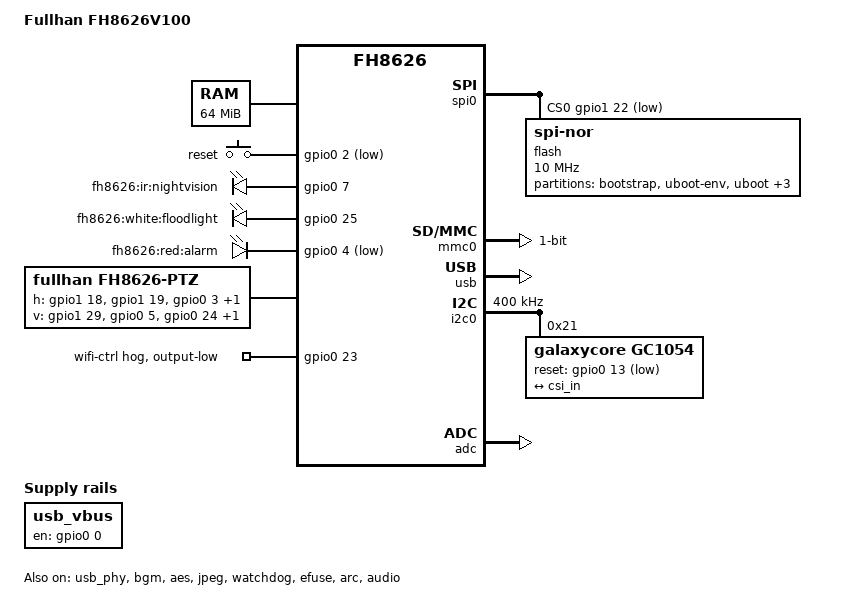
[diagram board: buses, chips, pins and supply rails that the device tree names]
// SPDX-License-Identifier: GPL-2.0
/*
 * Copyright (C) 2026 Difan Zhang
 */
/dts-v1/;
#include <dt-bindings/input/input.h>
#include "fh8626v100.dtsi"

/ {
	model = "Fullhan FH8626V100";
	compatible = "fullhan,fh8626v100", "fullhan,fh8626";
	#address-cells = <1>;
	#size-cells = <1>;

	chosen {
		stdout-path = "serial0:115200n8";
		bootargs = "console=ttyS0,115200 root=/dev/mtdblock4 rootfstype=squashfs mtdparts=spi0.0:256k(bootstrap),64k(uboot-env),256k(uboot),1984k(Kernel),5120k(rootfs),512k(rootfs_data)";
	};

	memory@a0000000 {
		device_type = "memory";
		reg = <0xa0000000 0x04000000>;
	};

	usb_vbus: regulator-usb-vbus {
		compatible = "regulator-fixed";
		pinctrl-names = "default";
		pinctrl-0 = <&usb_vbus_pins>;
		regulator-name = "usb-vbus";
		gpio = <&gpio0 0 GPIO_ACTIVE_HIGH>;
		enable-active-high;
		startup-delay-us = <1000>;
	};

	gpio-keys {
		compatible = "gpio-keys";
		pinctrl-names = "default";
		pinctrl-0 = <&reset_btn_pins>;

		button-reset {
			label = "reset";
			linux,code = <KEY_RESTART>;
			gpios = <&gpio0 2 GPIO_ACTIVE_LOW>;
		};
	};

	leds {
		compatible = "gpio-leds";

		led-ir {
			label = "fh8626:ir:nightvision";
			gpios = <&gpio0 7 GPIO_ACTIVE_HIGH>;
			default-state = "off";
		};

		led-white {
			label = "fh8626:white:floodlight";
			gpios = <&gpio0 25 GPIO_ACTIVE_HIGH>;
			default-state = "off";
		};

		led-alarm {
			label = "fh8626:red:alarm";
			gpios = <&gpio0 4 GPIO_ACTIVE_LOW>;
			default-state = "off";
		};
	};

	ptz: ptz-motors {
		compatible = "fullhan,fh8626-ptz";
		/*
		 * Horizontal motor phases are GPIO 50, 51, 3, 6 and vertical
		 * motor phases GPIO 61, 5, 24, 19; gpio1 holds GPIO 32..63.
		 */
		h-gpios = <&gpio1 18 GPIO_ACTIVE_HIGH>,
			  <&gpio1 19 GPIO_ACTIVE_HIGH>,
			  <&gpio0 3 GPIO_ACTIVE_HIGH>,
			  <&gpio0 6 GPIO_ACTIVE_HIGH>;
		v-gpios = <&gpio1 29 GPIO_ACTIVE_HIGH>,
			  <&gpio0 5 GPIO_ACTIVE_HIGH>,
			  <&gpio0 24 GPIO_ACTIVE_HIGH>,
			  <&gpio0 19 GPIO_ACTIVE_HIGH>;
		h-upbound = <496>;
		v-upbound = <169>;
		max-pps = <500>;
		h-invert-dir;
		sequential-axes;
	};

	reserved-memory {
		#address-cells = <1>;
		#size-cells = <1>;
		ranges;

		/* U-Boot's boot counter, cleared once a boot succeeds */
		bootcount@a1c20000 {
			reg = <0xa1c20000 0x1000>;
			no-map;
		};

		cma_pool: cma@a2400000 {
			compatible = "shared-dma-pool";
			reusable;
			/*
			 * 24 MiB, 4 MiB-aligned (MAX_ORDER = 11) for media
			 * DMA workspaces.
			 */
			reg = <0xa2400000 0x01800000>;
			linux,cma-default;
		};

		arc_memory: memory@a3f00000 {
			reg = <0xa3f00000 0x000c0000>;
			no-map;
		};

		arc_dma: dma-pool@a3fc0000 {
			compatible = "shared-dma-pool";
			reg = <0xa3fc0000 0x00040000>;
			no-map;
		};
	};
};

&timer {
	clock-frequency = <50000000>;
};

&spi0 {
	num-cs = <1>;
	cs-gpios = <&gpio1 22 GPIO_ACTIVE_LOW>;

	flash@0 {
		compatible = "jedec,spi-nor";
		reg = <0>;
		spi-max-frequency = <10000000>;
		spi-rx-bus-width = <1>;
		spi-tx-bus-width = <1>;

		partitions {
			compatible = "fixed-partitions";
			#address-cells = <1>;
			#size-cells = <1>;
			partition@0 {
				label = "bootstrap";
				reg = <0x000000 0x040000>;
			};
			partition@40000 {
				label = "uboot-env";
				reg = <0x040000 0x010000>;
			};
			partition@50000 {
				label = "uboot";
				reg = <0x050000 0x040000>;
			};
			partition@90000 {
				label = "Kernel";
				reg = <0x090000 0x1f0000>;
			};
			partition@280000 {
				label = "rootfs";
				reg = <0x280000 0x500000>;
			};
			partition@780000 {
				label = "rootfs_data";
				reg = <0x780000 0x080000>;
			};
		};
	};
};

&mmc0 {
	bus-width = <1>;
	max-frequency = <50000000>;
	clock-freq-min-max = <400000 50000000>;
	cap-sd-highspeed;
	no-1-8-v;
	status = "okay";
};

&pinctrl {
	usb_vbus_pins: usb-vbus {
		groups = "gpio0_grp";
		function = "gpio";
		bias-pull-down;
	};

	wifi_ctrl_pins: wifi-ctrl {
		groups = "gpio23_grp";
		function = "gpio";
		bias-pull-up;
		fullhan,drive = <0>;
	};
};

&gpio0 {
	/* Select GPIO23 on pad 70 before the GPIO controller probes its hog. */
	pinctrl-names = "default";
	pinctrl-0 = <&wifi_ctrl_pins>;

	/* Drive Wi-Fi control low before VBUS to prevent reset glitches. */
	wifi-ctrl-hog {
		gpio-hog;
		gpios = <23 GPIO_ACTIVE_HIGH>;
		output-low;
		line-name = "wifi-ctrl";
	};
};

&usb {
	status = "okay";
};

&usb_phy {
	vbus-supply = <&usb_vbus>;
	status = "okay";
};

&dma {
	status = "okay";
};

&bgm {
	status = "okay";
};

&i2c0 {
	status = "okay";
	clock-frequency = <400000>;

	gc1054: camera-sensor@21 {
		compatible = "galaxycore,gc1054";
		reg = <0x21>;
		pinctrl-names = "default";
		pinctrl-0 = <&sensor_pins>;
		clocks = <&clk FH8626_CLK_CIS_OUT>;
		clock-names = "xvclk";
		assigned-clocks = <&clk FH8626_CLK_CIS_OUT>;
		assigned-clock-parents = <&osc>;
		reset-gpios = <&gpio0 13 GPIO_ACTIVE_LOW>;

		port {
			gc1054_out: endpoint {
				remote-endpoint = <&csi_in>;
				clock-lanes = <0>;
				data-lanes = <1>;
			};
		};
	};
};

&aes {
	status = "okay";
};

&jpeg {
	status = "okay";
};

&adc {
	status = "okay";
};

&watchdog {
	status = "okay";
};

&efuse {
	status = "okay";
};

&arc {
	memory-region = <&arc_memory>, <&arc_dma>;
	status = "okay";
};

&audio {
	status = "okay";
	spk-gpios = <&gpio0 26 GPIO_ACTIVE_LOW>;
};
